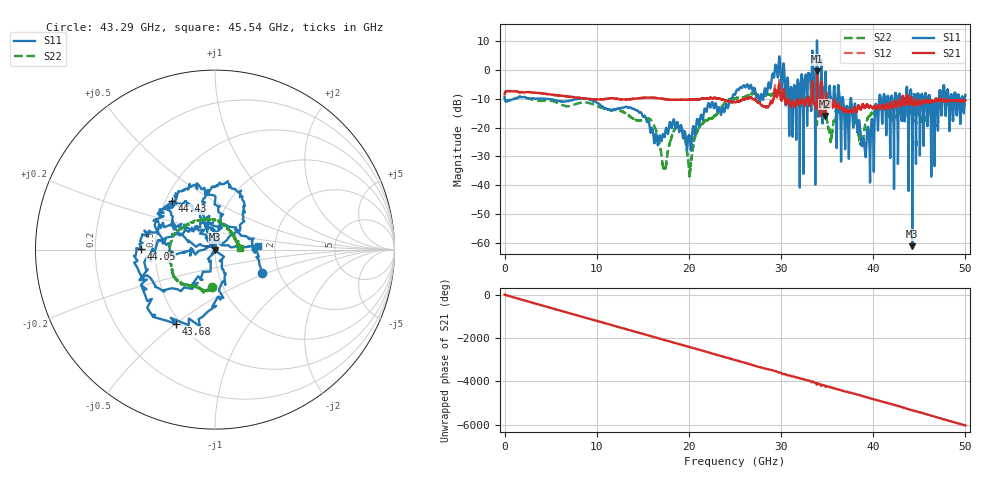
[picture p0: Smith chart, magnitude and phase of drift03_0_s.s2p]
!Created with skrf (http://scikit-rf.org).
# Hz S RI R 50.0
!freq ReS11 ImS11 ReS21 ImS21 ReS12 ImS12 ReS22 ImS22
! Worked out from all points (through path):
!   10001 points, 300 kHz to 50 GHz, reference 50 ohm
!   highest |S21| = -0.48 dB at 33.9 GHz (marker M1); lowest = -16.0 dB at 34.81 GHz (marker M2)
!   group delay of S21, straight-line fit = 335 ps
!   lowest |S11| = -61.2 dB at 44.24 GHz (marker M3), VSWR 1.00, Z = 50.1 + j0.0526 ohm
!   |S11| at or under -10 dB: 4.475 GHz to 7.921 GHz (3.446 GHz wide, 55.6 % of centre); 9.004 GHz to 24.7 GHz (15.69 GHz wide, 93.1 % of centre); 37.59 GHz to 40.65 GHz (3.054 GHz wide, 7.81 % of centre) (the widest 3 of 73)
!   |S22| runs from -37.0 to -6.0 dB; largest |S21 - S12| = 0.11
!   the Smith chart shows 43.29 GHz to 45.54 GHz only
!   S11 on the Smith chart (normalised r, x): 43.29 GHz: 1.64, -0.46; 43.68 GHz: 0.47, -0.50; 44.05 GHz: 0.42, +0.00; 44.43 GHz: 0.54, +0.33; 45.54 GHz: 1.62, +0.07
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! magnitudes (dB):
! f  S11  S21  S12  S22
! 300 kHz  -9.5  -8.5  -8.5  -9.3
! 8.335 GHz  -9.9  -9.8  -9.8  -11.3
! 16.67 GHz  -25.6  -9.8  -9.8  -23.7
! 17.36 GHz  -23.1  -10.1  -10.1  -34.1
! 19.04 GHz  -20.4  -10.3  -10.4  -19.9
! 20.1 GHz  -24.1  -10.3  -10.3  -34.9
! 21.2 GHz  -17.5  -10.1  -10.1  -19.4
! 25 GHz  -8.6  -11.1  -11.1  -9.8
! 29.66 GHz  -2.5  -8.4  -8.5  -7.2
! 31.08 GHz  -6.1  -12.8  -12.8  -10.5
! 33.34 GHz  -0.5  -8.2  -8.3  -9.5
! 33.9 GHz  10.1  -0.5  -0.9  -18.3
! 34.81 GHz  -2.7  -16.0  -13.7  -14.5
! 39 GHz  -25.7  -12.7  -12.9  -21.8
! 41.67 GHz  -10.1  -13.5  -13.4  -14.9
! 43.29 GHz  -10.7  -10.2  -10.3  -13.6
! 43.68 GHz  -6.6  -8.8  -8.8  -12.6
! 44.05 GHz  -7.7  -10.5  -10.5  -11.3
! 44.24 GHz  -61.2  -11.3  -11.3  -11.7
! 44.43 GHz  -8.8  -12.1  -12.1  -12.0
! 45.54 GHz  -12.5  -10.8  -10.7  -17.0
! 50 GHz  -8.6  -10.5  -10.6  -12.2
